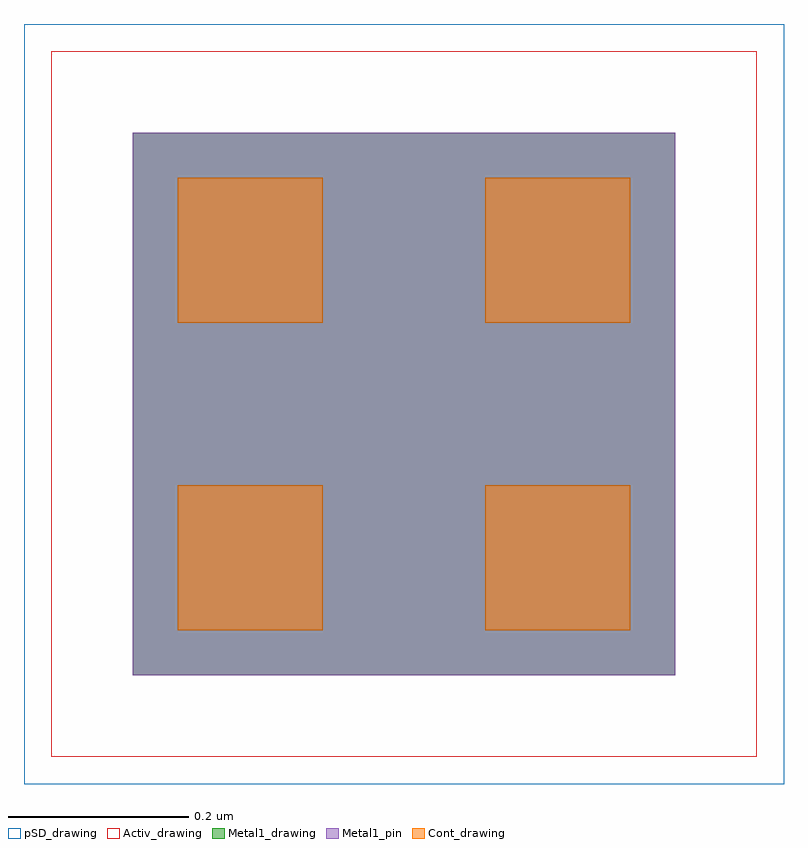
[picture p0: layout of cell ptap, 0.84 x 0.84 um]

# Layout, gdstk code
import gdstk
lib = gdstk.Library(unit=1e-6, precision=1e-09)
def R(c, l, rs):  # rectangles x0, y0, x1, y1
    for r in rs: c.add(gdstk.rectangle(r[:2], r[2:], *l))
Activ_drawing = (1, 0)
Cont_drawing = (6, 0)
Metal1_drawing = (8, 0)
Metal1_pin = (8, 2)
pSD_drawing = (14, 0)

ptap = lib.new_cell('ptap')
R(ptap, Activ_drawing, [(0,0,0.78,0.78)])
R(ptap, Cont_drawing, [(0.14,0.14,0.3,0.3), (0.48,0.14,0.64,0.3), (0.14,0.48,0.3,0.64), (0.48,0.48,0.64,0.64)])
R(ptap, Metal1_drawing, [(0.09,0.09,0.69,0.69)])
R(ptap, Metal1_pin, [(0.09,0.09,0.69,0.69)])
R(ptap, pSD_drawing, [(-0.03,-0.03,0.81,0.81)])

lib.write_gds('ptap.gds')
